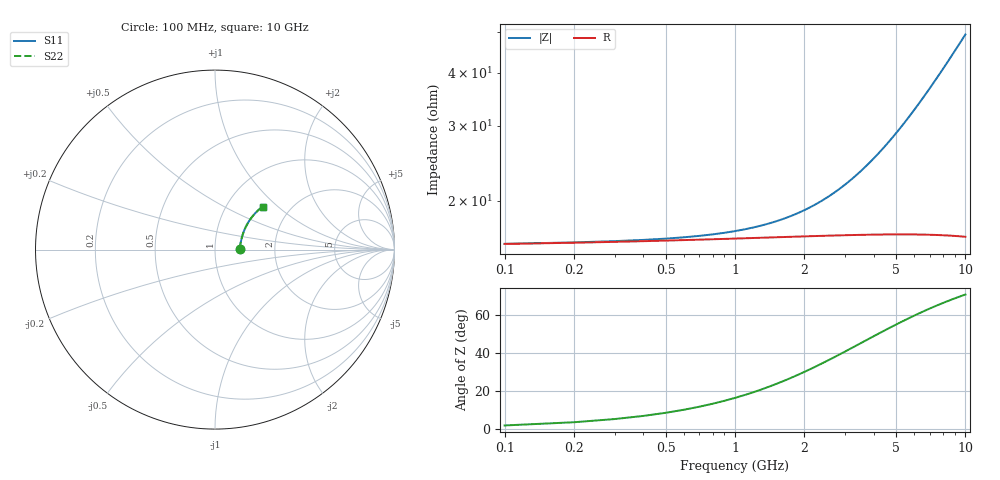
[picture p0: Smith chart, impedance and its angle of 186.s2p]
# Hz S RI R 50.00
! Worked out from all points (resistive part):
!   100 points, 100 MHz to 10 GHz, reference 50 ohm
!   read as one part in series: R = 15.8 ohm at 100 MHz
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1e8  0.1365 0.00294  0.8635 -0.00409  0.8635 -0.00409  0.1365 0.00294
2e8  0.1373 0.00587  0.8627 -0.00818  0.8627 -0.00818  0.1373 0.00587
7e8  0.14 0.0204  0.86 -0.0285  0.86 -0.0285  0.14 0.0204
1e9  0.1414 0.0291  0.8585 -0.0406  0.8585 -0.0406  0.1414 0.0291
1.2e9  0.1424 0.0348  0.8575 -0.0487  0.8575 -0.0487  0.1424 0.0348
1.4e9  0.1435 0.0405  0.8564 -0.0567  0.8564 -0.0567  0.1435 0.0405
1.8e9  0.1458 0.0519  0.8539 -0.0727  0.8539 -0.0727  0.1458 0.0519
2.1e9  0.1478 0.0603  0.8519 -0.0846  0.8519 -0.0846  0.1478 0.0603
2.5e9  0.1507 0.0715  0.8488 -0.1004  0.8488 -0.1004  0.1507 0.0715
2.9e9  0.154 0.0825  0.8454 -0.116  0.8454 -0.116  0.154 0.0825
3.4e9  0.1586 0.096  0.8405 -0.1353  0.8405 -0.1353  0.1586 0.096
4.2e9  0.1672 0.1171  0.8315 -0.1657  0.8315 -0.1657  0.1672 0.1171
5.1e9  0.1785 0.1398  0.8197 -0.1988  0.8197 -0.1988  0.1785 0.1398
5.9e9  0.1899 0.1589  0.8076 -0.2272  0.8076 -0.2272  0.1899 0.1589
6.3e9  0.196 0.1681  0.8011 -0.2411  0.8011 -0.2411  0.196 0.1681
6.7e9  0.2025 0.177  0.7943 -0.2546  0.7943 -0.2546  0.2025 0.177
7.1e9  0.2092 0.1856  0.7871 -0.2679  0.7871 -0.2679  0.2092 0.1856
7.5e9  0.2162 0.1939  0.7797 -0.2809  0.7797 -0.2809  0.2162 0.1939
7.9e9  0.2234 0.2019  0.772 -0.2936  0.772 -0.2936  0.2234 0.2019
8.4e9  0.2328 0.2115  0.7621 -0.309  0.7621 -0.309  0.2328 0.2115
9.2e9  0.2484 0.2258  0.7454 -0.3326  0.7454 -0.3326  0.2484 0.2258
1e10  0.2648 0.2387  0.728 -0.355  0.728 -0.355  0.2648 0.2387
